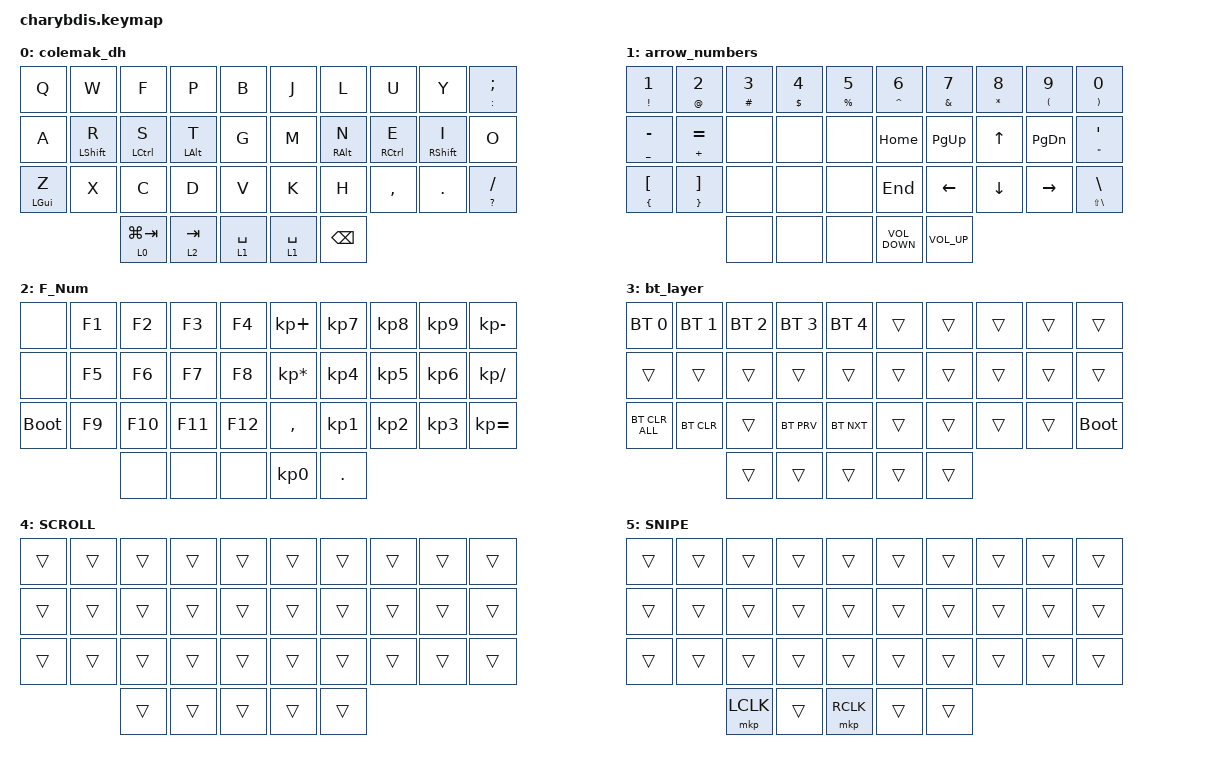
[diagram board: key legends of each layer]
#include <dt-bindings/zmk/mouse.h>
#include <input/processors.dtsi>
#include <dt-bindings/zmk/input_transform.h>
#include <behaviors.dtsi>
#include <dt-bindings/zmk/bt.h>
#include <dt-bindings/zmk/keys.h>
#include <dt-bindings/zmk/pointing.h>

#define U_TAPPING_TERM 200

/ {
    trackball_listener {
        compatible = "zmk,input-listener";
        device = <&trackball>;

        // Normal pointer movement

        input-processors = <
        &zip_xy_scaler 1 2
        >;

        // Scroll mode (Layer 4)

        scroll {
            layers = <4>;
            input-processors =
                <&zip_xy_scaler 1 5>,
                <&zip_xy_to_scroll_mapper>,
                <&zip_scroll_transform (INPUT_TRANSFORM_Y_INVERT)>;
        };

        // Sniper mode (Layer 5)

        snipe {
            layers = <5>;
            input-processors = <
            &zip_xy_scaler 1 5    // Precise slow movement
            >;
        };
    };

    combos {
        compatible = "zmk,combos";

        LeftClickRight {
            bindings = <&mkp LCLK>;
            key-positions = <26 27>;
        };

        RightClickRight {
            bindings = <&mkp RCLK>;
            key-positions = <28 27>;
        };

        MiddleClickRight {
            bindings = <&mkp MCLK>;
            key-positions = <26 27 28>;
        };

        Escape {
            bindings = <&mt GRAVE ESCAPE>;
            key-positions = <1 0>;
        };

        caps {
            bindings = <&kp CAPS>;
            key-positions = <10 11 12>;
        };

        del {
            bindings = <&kp DELETE>;
            key-positions = <9 8>;
        };

        enter {
            bindings = <&kp RET>;
            key-positions = <18 17>;
            layers = <0 2 5 4>;
        };

        reset1 {
            bindings = <&sys_reset>;
            key-positions = <0 11 22>;
        };

        reset2 {
            bindings = <&sys_reset>;
            key-positions = <9 18 27>;
        };

        print {
            bindings = <&kp PRINTSCREEN>;
            key-positions = <20 21 22>;
        };

        num_layer {
            bindings = <&to 2>;
            key-positions = <6 7 5>;
        };

        bt_layer {
            bindings = <&to 3>;
            key-positions = <4 3 2>;
        };

        default {
            bindings = <&to 0>;
            key-positions = <18 15 16 17>;
        };

        qwerty {
            bindings = <&to 0>;
            key-positions = <29 19>;
        };

        tilde {
            bindings = <&mt LS(GRAVE) GRAVE>;
            key-positions = <1 0>;
            layers = <1>;
        };

        scroll {
            bindings = <&mo 4>;
            key-positions = <24 23>;
        };

        mute {
            bindings = <&kp K_MUTE>;
            key-positions = <40 39 33 34>;
            layers = <1>;
        };

        copy-paste {
            bindings = <&mt RC(V) RC(C)>;
            key-positions = <28 29>;
        };

        LeftClickLeft {
            bindings = <&mkp LCLK>;
            key-positions = <21 22>;
        };

        RightClickLeft {
            bindings = <&mkp RCLK>;
            key-positions = <23 22>;
        };

        MiddleClickLeft {
            bindings = <&mkp MCLK>;
            key-positions = <21 22 23>;
        };

        Back {
            bindings = <&kp C_AC_BACK>;
            key-positions = <20 11>;
        };

        Forward {
            bindings = <&kp C_AC_FORWARD>;
            key-positions = <20 21>;
        };

        shift_select {
            bindings = <&kp LEFT_SHIFT>;
            key-positions = <11 12>;
            layers = <1>;
        };

        Snipe {
            bindings = <&mo 5>;
            key-positions = <24 13>;
        };
    };

    behaviors {
        u_mt: u_mt {
            compatible = "zmk,behavior-hold-tap";
            label = "u_mt";
            #binding-cells = <2>;
            tapping_term_ms = <U_TAPPING_TERM>;
            flavor = "tap-preferred";
            bindings = <&kp>, <&kp>;
        };

        u_lt: u_lt {
            compatible = "zmk,behavior-hold-tap";
            label = "u_lt";
            #binding-cells = <2>;
            tapping_term_ms = <U_TAPPING_TERM>;
            flavor = "tap-preferred";
            bindings = <&mo>, <&kp>;
        };

        Shift_Enter: Shift_Enter {
            compatible = "zmk,behavior-hold-tap";
            label = "SHIFT_ENTER";
            bindings = <&kp>, <&kp>;

            #binding-cells = <2>;
            hold-trigger-key-positions = <40>;
            tapping-term-ms = <100>;
        };
    };

    macros {
        screenshot: screenshot {
            compatible = "zmk,behavior-macro";
            #binding-cells = <0>;
            bindings =
                <&macro_press>,
                <&kp LS(LEFT_GUI)>,
                <&macro_tap>,
                <&kp S>,
                <&macro_release>,
                <&kp LS(LEFT_GUI)>;

            label = "SCREENSHOT";
        };
    };

    keymap {
        compatible = "zmk,keymap";

        colemak_dh {
            bindings = <
  &kp Q             &kp W               &kp F          &kp P             &kp B          &kp J        &kp L              &kp U          &kp Y                &u_mt COLON SEMI
  &kp A             &u_mt LEFT_SHIFT R  &u_mt LCTRL S  &u_mt LEFT_ALT T  &kp G          &kp M        &u_mt RIGHT_ALT N  &u_mt RCTRL E  &u_mt RIGHT_SHIFT I  &kp O
  &u_mt LEFT_GUI Z  &kp X               &kp C          &kp D             &kp V          &kp K        &kp H              &kp COMMA      &kp DOT              &u_mt QUESTION SLASH
                                        &lt 0 LG(TAB)  &lt 2 TAB         &lt 1 SPACE    &lt 1 SPACE  &kp BACKSPACE
            >;
        };

        arrow_numbers {
            bindings = <
  &mt EXCLAMATION NUMBER_1     &mt AT_SIGN NUMBER_2           &mt HASH NUMBER_3  &mt DLLR NUMBER_4  &mt PRCNT N5    &mt CARET NUMBER_6  &mt AMPS NUMBER_7  &mt ASTRK NUMBER_8  &mt LPAR NUMBER_9  &mt RPAR NUMBER_0
  &mt UNDER MINUS              &mt PLUS EQUAL                 &none              &none              &none           &kp HOME            &kp PG_UP          &kp UP_ARROW        &kp PAGE_DOWN      &u_mt DOUBLE_QUOTES SQT
  &mt LEFT_BRACE LEFT_BRACKET  &mt RIGHT_BRACE RIGHT_BRACKET  &none              &none              &none           &kp END             &kp LEFT_ARROW     &kp DOWN            &kp RIGHT          &mt LS(BACKSLASH) BACKSLASH
                                                              &none              &none              &none           &kp C_VOLUME_DOWN   &kp C_VOLUME_UP
            >;
        };

        F_Num {
            bindings = <
  &none        &kp F1  &kp F2   &kp F3   &kp F4     &kp KP_PLUS      &kp KP_NUMBER_7  &kp KP_NUMBER_8  &kp KP_NUMBER_9  &kp KP_MINUS
  &none        &kp F5  &kp F6   &kp F7   &kp F8     &kp KP_MULTIPLY  &kp KP_NUMBER_4  &kp KP_NUMBER_5  &kp KP_NUMBER_6  &kp KP_DIVIDE
  &bootloader  &kp F9  &kp F10  &kp F11  &kp F12    &kp COMMA        &kp KP_NUMBER_1  &kp KP_NUMBER_2  &kp KP_NUMBER_3  &kp KP_EQUAL
                       &none    &none    &none      &kp KP_N0        &kp PERIOD
            >;
        };

        bt_layer {
            bindings = <
  &bt BT_SEL 0    &bt BT_SEL 1  &bt BT_SEL 2  &bt BT_SEL 3  &bt BT_SEL 4    &trans  &trans  &trans  &trans  &trans
  &trans          &trans        &trans        &trans        &trans          &trans  &trans  &trans  &trans  &trans
  &bt BT_CLR_ALL  &bt BT_CLR    &trans        &bt BT_PRV    &bt BT_NXT      &trans  &trans  &trans  &trans  &bootloader
                                &trans        &trans        &trans          &trans  &trans
            >;
        };

        SCROLL {
            bindings = <
  &trans  &trans  &trans  &trans  &trans    &trans  &trans  &trans  &trans  &trans
  &trans  &trans  &trans  &trans  &trans    &trans  &trans  &trans  &trans  &trans
  &trans  &trans  &trans  &trans  &trans    &trans  &trans  &trans  &trans  &trans
                  &trans  &trans  &trans    &trans  &trans
            >;
        };

        SNIPE {
            bindings = <
  &trans  &trans  &trans     &trans  &trans       &trans  &trans  &trans  &trans  &trans
  &trans  &trans  &trans     &trans  &trans       &trans  &trans  &trans  &trans  &trans
  &trans  &trans  &trans     &trans  &trans       &trans  &trans  &trans  &trans  &trans
                  &mkp LCLK  &trans  &mkp RCLK    &trans  &trans
            >;
        };
    };
};
